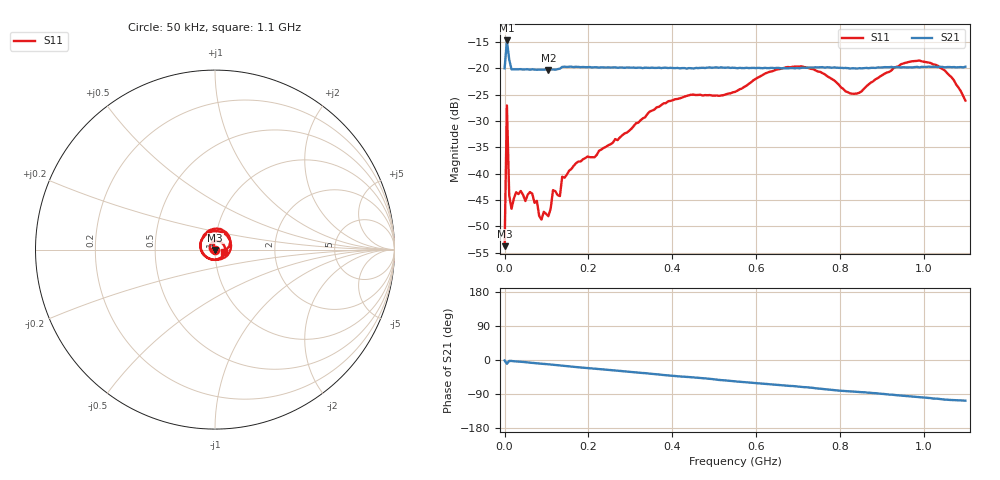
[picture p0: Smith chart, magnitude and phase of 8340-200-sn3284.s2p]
!File created by NanoVNA-F V2
# Hz S RI R 50
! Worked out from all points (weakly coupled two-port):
!   201 points, 50 kHz to 1.1 GHz, reference 50 ohm
!   highest |S21| = -14.70 dB at 5.55 MHz (marker M1); lowest = -20.3 dB at 104.5 MHz (marker M2)
!   lowest |S11| = -53.8 dB at 50 kHz (marker M3), VSWR 1.00, Z = 50 - j0.2 ohm
!   |S11| at or under -10 dB: start of sweep to end of sweep
!   S12 and S22 are empty: the file has one direction only
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50000  0.000415 -0.002  0.1 -0.00221  0 0  0 0
5549750  -0.0119 0.0428  0.1814 -0.032  0 0  0 0
1.10495e7  -0.00511 -0.00347  0.1211 -0.00521  0 0  0 0
1.654925e7  0.00396 0.00241  0.0977 -0.00439  0 0  0 0
2.754875e7  0.00637 0.00191  0.0979 -0.00619  0 0  0 0
4.954775e7  0.00547 0.000347  0.0974 -0.00962  0 0  0 0
6.054725e7  0.00668 5.1e-05  0.0964 -0.0118  0 0  0 0
8.8046e7  0.00352 0.000996  0.0958 -0.0165  0 0  0 0
1.045452e8  0.00344 0.00192  0.0947 -0.0192  0 0  0 0
1.155448e8  0.00554 0.00423  0.0953 -0.021  0 0  0 0
1.32044e8  0.00553 0.00261  0.0963 -0.0245  0 0  0 0
1.375438e8  0.00862 0.00359  0.0997 -0.0268  0 0  0 0
1.870415e8  0.0126 -0.00538  0.0968 -0.0356  0 0  0 0
3.685332e8  -0.0122 0.0413  0.0798 -0.0628  0 0  0 0
4.675288e8  0.0556 -0.00768  0.0682 -0.0745  0 0  0 0
5.50025e8  -0.0304 -0.0515  0.0561 -0.0841  0 0  0 0
6.490205e8  -0.0533 0.0816  0.0414 -0.0922  0 0  0 0
7.370165e8  0.0833 0.0521  0.0286 -0.0978  0 0  0 0
8.305122e8  -0.000988 -0.0574  0.0121 -0.0996  0 0  0 0
9.185082e8  -0.0722 0.0581  -0.00233 -0.1027  0 0  0 0
1.028503e9  0.0777 0.0753  -0.0212 -0.1014  0 0  0 0
1.1e9  0.0483 -0.0106  -0.0306 -0.099  0 0  0 0
